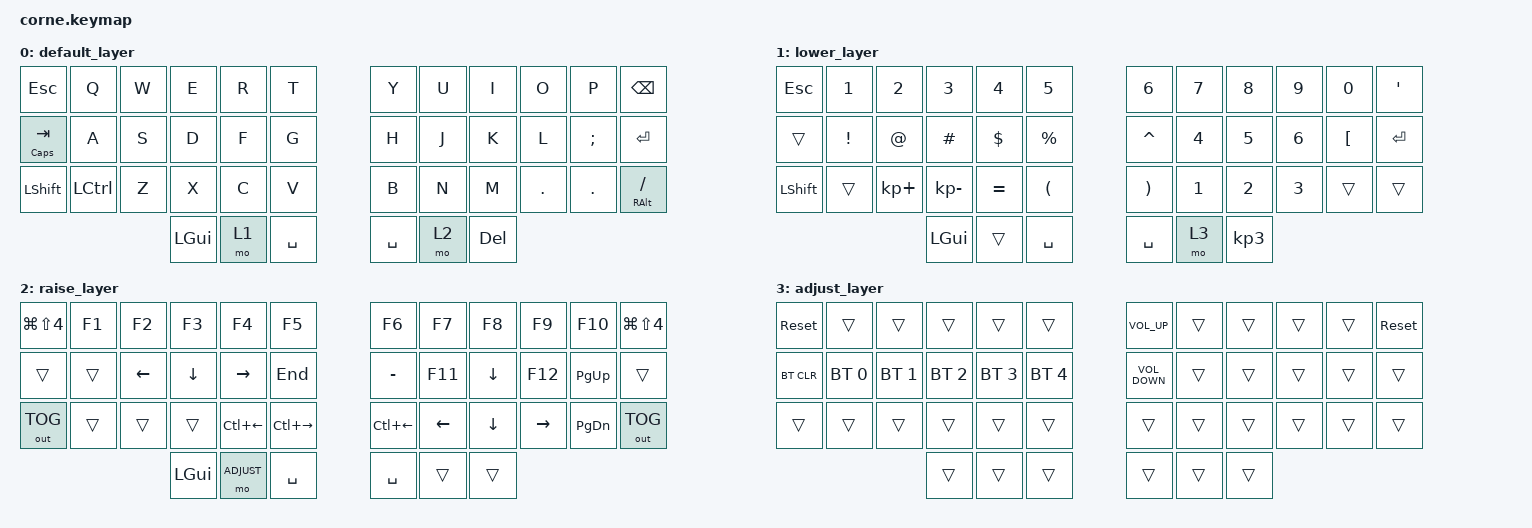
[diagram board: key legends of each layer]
/*
 * Copyright (c) 2020 The ZMK Contributors
 *
 * SPDX-License-Identifier: MIT
 * To use home rows - &hm LSHFT F
 */

#include <behaviors.dtsi>
#include <dt-bindings/zmk/bt.h>
#include <dt-bindings/zmk/keys.h>
#include <dt-bindings/zmk/outputs.h>

#define QWERTY 0
#define NUMB 1
#define NAVI 2
#define ADJUST 3

/ {
    behaviors {
        hm: homerow_mods {
            compatible = "zmk,behavior-hold-tap";
            label = "HOMEROW_MODS";
            #binding-cells = <2>;
            tapping-term-ms = <150>;
            quick_tap_ms = <0>;
            flavor = "tap-preferred";
            bindings = <&kp>, <&kp>;
        };
    };

    keymap {
        compatible = "zmk,keymap";

        default_layer {
            // .--------------------------------------------------------------.       .-----------------------------------------------------------.
            // |   ESC        |    Q    |    W   |   E    |    R    |    T    |       |   Y   |    U    |    I    |    O    |     P    |    \     |
            // |--------------+---------+--------+--------+---------+---------|       |-------+---------+---------+---------+----------+----------|
            // |   CTRL/Tab   |    A    |    S   |   D    |    F    |    G    |       |   H   |    J    |    K    |    L    |     ;    |     '    |
            // |--------------+---------+--------+--------+---------+---------|       |-------+---------+---------+---------+----------+----------|
            // |   SHFT       |    Z    |    X   |   C    |    V    |    B    |       |   N   |    M    |    ,    |    .    |     /    | ` | ALT  |
            // '---------------------------------+--------+---------+---------+       |-------+---------+---------+-------------------------------'
            //                                   |  GUI   |   MO1   |   ENT   |       |  SPC  |   BKSP  |  CAPS   |
            //                                   '--------+---------+---------'       '-------+---------+---------'

            bindings = <
&kp ESC           &kp Q      &kp W  &kp E     &kp R  &kp T        &kp Y      &kp U  &kp I    &kp O    &kp P     &kp BACKSPACE
&mt CAPSLOCK TAB  &kp A      &kp S  &kp D     &kp F  &kp G        &kp H      &kp J  &kp K    &kp L    &kp SEMI  &kp ENTER
&kp LSHFT         &kp LCTRL  &kp Z  &kp X     &kp C  &kp V        &kp B      &kp N  &kp M    &kp DOT  &kp DOT   &mt RALT SLASH
                                    &kp LGUI  &mo 1  &kp SPACE    &kp SPACE  &mo 2  &kp DEL
            >;
        };

        lower_layer {
            // .--------------------------------------------------------------.       .-----------------------------------------------------------.
            // |   ESC        |    1    |    2   |   3    |    4    |    5    |       |   6   |    7    |    8    |    9    |     0    |    `     |
            // |--------------+---------+--------+--------+---------+---------|       |-------+---------+---------+---------+----------+----------|
            // |              |    !    |    @   |   #    |    $    |    %    |       |   ^   |    &    |    *    |    (    |     )    |     :    |
            // |--------------+---------+--------+--------+---------+---------|       |-------+---------+---------+---------+----------+----------|
            // |   SHFT       |         |    +   |   -    |    {    |    [    |       |   ]   |    }    |    =    |    _    |          |          |
            // '---------------------------------+--------+---------+---------+       |-------+---------+---------+-------------------------------'
            //                                   |  GUI   |         |   MO3   |       |   ,   |    .    |   ?     |
            //                                   '--------+---------+---------'       '-------+---------+---------'

            bindings = <
&kp ESC    &kp N1    &kp N2       &kp N3        &kp N4     &kp N5                  &kp N6                 &kp N7        &kp N8        &kp N9        &kp N0            &kp SQT
&trans     &kp EXCL  &kp AT       &kp HASH      &kp DLLR   &kp PRCNT               &kp CARET              &kp NUMBER_4  &kp N5        &kp NUMBER_6  &kp LEFT_BRACKET  &kp ENTER
&kp LSHFT  &trans    &kp KP_PLUS  &kp KP_MINUS  &kp EQUAL  &kp LEFT_PARENTHESIS    &kp RIGHT_PARENTHESIS  &kp NUMBER_1  &kp NUMBER_2  &kp NUMBER_3  &trans            &trans
                                  &kp LGUI      &trans     &kp SPACE               &kp SPACE              &mo 3         &kp KP_N3
            >;
        };

        raise_layer {
            // .----------------------------------------------------------------.       .-----------------------------------------------------------------.
            // |   CMD+SHIFT+4  |       |   PU   |   UP   |    PD    |   HOME   |       |  HOME   |    PU    |    UP   |   PD    |          | CMD+SHIFT+4 |
            // |----------------+-------+--------+--------+----------+----------|       |---------+----------+---------+---------+----------+-------------|
            // |                |       |  LEFT  |  DOWN  |   RIGHT  |   END    |       |  END    |   LEFT   |   DOWN  |  RIGHT  |          |             |
            // |----------------+-------+--------+--------+----------+----------|       |---------+----------+---------+---------+----------+-------------|
            // |     OUT_TOG    |       |        |        |CTRL+LEFT |CTRL+RIGHT|       |CTRL+LEFT|CTRL+RIGHT|         |         |          |   OUT_TOG   |
            // '---------------------------------+--------+----------+----------+       |---------+----------+---------+----------------------------------'
            //                                   |  GUI   |   MO3    |          |       |         |          |         |
            //                                   '--------+----------+----------'       '---------+----------+---------'

            bindings = <
&kp LG(LS(N4))  &kp F1  &kp F2          &kp F3          &kp F4              &kp F5                 &kp F6              &kp F7    &kp F8          &kp F9     &kp F10        &kp LG(LS(N4))
&trans          &trans  &kp LEFT_ARROW  &kp DOWN_ARROW  &kp RIGHT_ARROW     &kp END                &kp MINUS           &kp F11   &kp DOWN_ARROW  &kp F12    &kp PAGE_UP    &trans
&out OUT_TOG    &trans  &trans          &trans          &kp LC(LEFT_ARROW)  &kp LC(RIGHT_ARROW)    &kp LC(LEFT_ARROW)  &kp LEFT  &kp DOWN        &kp RIGHT  &kp PAGE_DOWN  &out OUT_TOG
                                        &kp LGUI        &mo ADJUST          &kp SPACE              &kp SPACE           &trans    &trans
            >;
        };

        adjust_layer {
            // .--------------------------------------------------------.       .--------------------------------------------------------------.
            // |         |        |        |        |         |         |       |  VOL+  |        |         |         |          |             |
            // |---------+--------+--------+--------+---------+---------|       |--------+--------+---------+---------+----------+-------------|
            // |  BTCLR  |  BT1   |  BT2   |  BT3   |  BT4    |  BT5    |       |  VOL-  |        |         |         |          |             |
            // |---------+--------+--------+--------+---------+---------|       |--------+--------+---------+---------+----------+-------------|
            // |         |        |        |        |         |         |       |        |        |         |         |          |             |
            // '---------------------------+--------+---------+---------+       |--------+--------+---------+----------------------------------'
            //                             |        |         |         |       |        |        |         |
            //                             '--------+---------+---------'       '--------+--------+---------'

            bindings = <
&sys_reset  &trans        &trans        &trans        &trans        &trans          &kp C_VOLUME_UP    &trans  &trans  &trans  &trans  &sys_reset
&bt BT_CLR  &bt BT_SEL 0  &bt BT_SEL 1  &bt BT_SEL 2  &bt BT_SEL 3  &bt BT_SEL 4    &kp C_VOLUME_DOWN  &trans  &trans  &trans  &trans  &trans
&trans      &trans        &trans        &trans        &trans        &trans          &trans             &trans  &trans  &trans  &trans  &trans
                                        &trans        &trans        &trans          &trans             &trans  &trans
            >;
        };
    };
};
